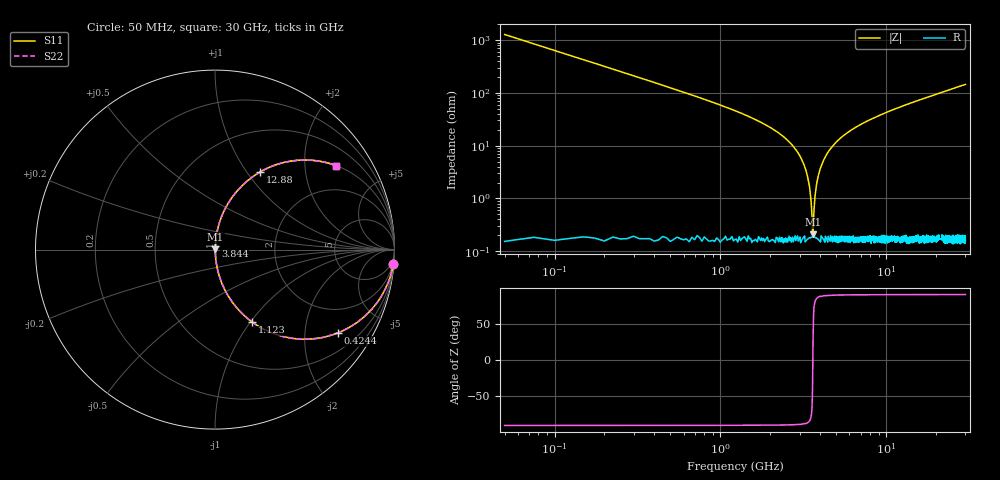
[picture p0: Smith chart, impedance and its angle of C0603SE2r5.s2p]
!	AVX Thin Film Operation 	Date: April 2014
!	Description: Accu-P® Series, Thin Film  SMD RF Capacitor
!	Part Number: 06031J2R5QBSTR
# MHZ S MA R 50
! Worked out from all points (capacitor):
!   1201 points, 50 MHz to 30 GHz, reference 50 ohm
!   read as one part in series: C = 2.5 pF near 199.8 MHz
!   lowest |Z| = 210 mohm at 3.619 GHz (marker M1)
!   series resonance near 3.609 GHz, so ESL is about 780 pH
!   S11 on the Smith chart (normalised r, x): 50 MHz: 1, -25; 424.4 MHz: 1.00, -2.96; 1.123 GHz: 1.00, -1.02; 3.844 GHz: 1.00, +0.04; 12.88 GHz: 1.00, +1.16; 30 GHz: 1.00, +2.89
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50  0.997 -4.5  0.078 85.5  0.078 85.5  0.997 -4.5
249.667  0.93 -21.5  0.367 68.5  0.367 68.5  0.93 -21.5
424.375  0.828 -34.0  0.56 55.9  0.56 55.9  0.828 -34.0
773.792  0.617 -51.8  0.786 38.1  0.786 38.1  0.617 -51.8
1123.208  0.455 -62.7  0.889 27.1  0.889 27.1  0.455 -62.7
2296.25  0.163 -80.1  0.985 9.4  0.985 9.4  0.163 -80.1
2920.208  0.075 -84.4  0.995 4.3  0.995 4.3  0.075 -84.4
3294.583  0.032 -85.1  0.998 1.8  0.998 1.8  0.032 -85.1
3494.25  0.011 -80.9  0.998 0.7  0.998 0.7  0.011 -80.9
3619.042  0.001967 30.3  0.998 -0.1  0.998 -0.1  0.001967 30.3
3718.875  0.011 80.3  0.998 -0.6  0.998 -0.6  0.011 80.3
3843.667  0.022 84.4  0.998 -1.3  0.998 -1.3  0.022 84.4
4018.375  0.038 85.3  0.998 -2.2  0.998 -2.2  0.038 85.3
4267.958  0.059 85.0  0.997 -3.4  0.997 -3.4  0.059 85.0
5041.667  0.119 82.3  0.991 -6.8  0.991 -6.8  0.119 82.3
6913.542  0.238 75.8  0.97 -13.8  0.97 -13.8  0.238 75.8
10058.29  0.393 66.6  0.918 -23.2  0.918 -23.2  0.393 66.6
12878.58  0.501 59.8  0.864 -30.1  0.864 -30.1  0.501 59.8
15025  0.568 55.2  0.821 -34.6  0.821 -34.6  0.568 55.2
20016.67  0.687 46.5  0.726 -43.4  0.726 -43.4  0.687 46.5
25033.29  0.767 39.8  0.64 -50.1  0.64 -50.1  0.767 39.8
30000  0.822 34.7  0.569 -55.3  0.569 -55.3  0.822 34.7
